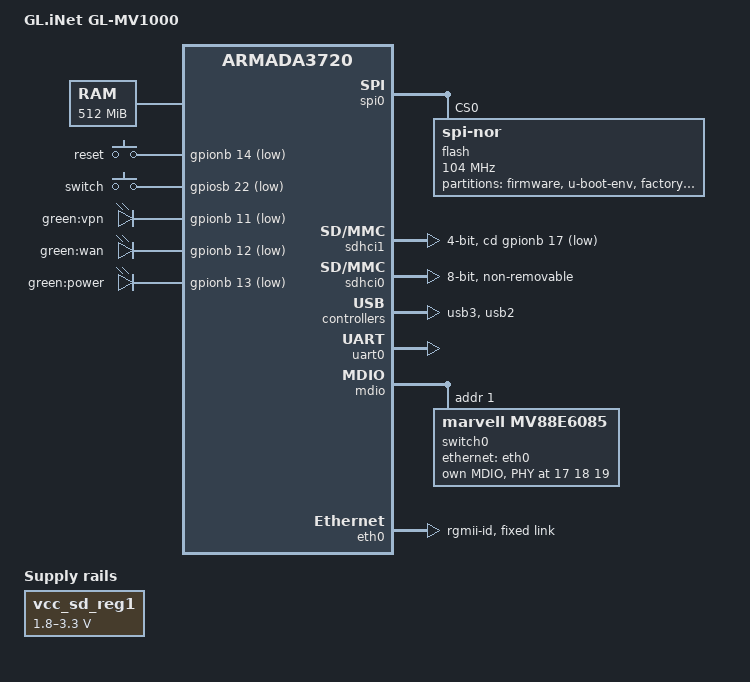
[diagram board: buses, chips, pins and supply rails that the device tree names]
// SPDX-License-Identifier: (GPL-2.0-or-later OR MIT)

/dts-v1/;
#include <dt-bindings/gpio/gpio.h>
#include <dt-bindings/input/input.h>
#include "armada-372x.dtsi"

/ {
	model = "GL.iNet GL-MV1000";
	compatible = "glinet,gl-mv1000", "marvell,armada3720";

	aliases {
		led-boot = &led_power;
		led-failsafe = &led_power;
		led-running = &led_power;
		led-upgrade = &led_power;
	};

	chosen {
		stdout-path = "serial0:115200n8";
	};

	memory@0 {
		device_type = "memory";
		reg = <0x00000000 0x00000000 0x00000000 0x20000000>;
	};

	vcc_sd_reg1: regulator {
		compatible = "regulator-gpio";
		regulator-name = "vcc_sd1";
		regulator-min-microvolt = <1800000>;
		regulator-max-microvolt = <3300000>;
		regulator-boot-on;

		gpios-states = <0>;
		states = <1800000 0x1
			3300000 0x0>;
		enable-active-high;
	};

	keys {
		compatible = "gpio-keys";

		reset {
			label = "reset";
			linux,code = <KEY_RESTART>;
			gpios = <&gpionb 14 GPIO_ACTIVE_LOW>;
		};

		switch {
			label = "switch";
			linux,code = <BTN_0>;
			gpios = <&gpiosb 22 GPIO_ACTIVE_LOW>;
		};
	};

	leds {
		compatible = "gpio-leds";

		vpn {
			label = "green:vpn";
			gpios = <&gpionb 11 GPIO_ACTIVE_LOW>;
		};

		wan {
			label = "green:wan";
			gpios = <&gpionb 12 GPIO_ACTIVE_LOW>;
		};

		led_power: power {
			label = "green:power";
			gpios = <&gpionb 13 GPIO_ACTIVE_LOW>;
			default-state = "on";
		};
	};
};

&spi0 {
	status = "okay";

	flash@0 {
		reg = <0>;
		compatible = "jedec,spi-nor";
		spi-max-frequency = <104000000>;
		m25p,fast-read;
		partitions {
			compatible = "fixed-partitions";
			#address-cells = <1>;
			#size-cells = <1>;

			partition@0 {
				label = "firmware";
				reg = <0 0xf0000>;
			};

			partition@f0000 {
				label = "u-boot-env";
				reg = <0xf0000 0x8000>;
			};

			factory: partition@f8000 {
				label = "factory";
				reg = <0xf8000 0x8000>;
				read-only;
			};

			partition@100000 {
				label = "dtb";
				reg = <0x100000 0x10000>;
				read-only;
			};

			partition@110000 {
				label = "rescue";
				reg = <0x110000 0x1000000>;
			};
		};
	};
};

&sdhci1 {
	wp-inverted;
	bus-width = <4>;
	cd-gpios = <&gpionb 17 GPIO_ACTIVE_LOW>;
	marvell,pad-type = "sd";
	no-1-8-v;
	vqmmc-supply = <&vcc_sd_reg1>;
	status = "okay";
};

&sdhci0 {
	bus-width = <8>;
	mmc-ddr-1_8v;
	mmc-hs400-1_8v;
	non-removable;
	no-sd;
	no-sdio;
	marvell,pad-type = "fixed-1-8v";
	status = "okay";
};

&usb3 {
	status = "okay";
};

&usb2 {
	status = "okay";
};

&uart0 {
	status = "okay";
};

&mdio {
	switch0: ethernet-switch@1 {
		compatible = "marvell,mv88e6085";
		reg = <1>;

		dsa,member = <0 0>;

		ports: ethernet-ports {
			#address-cells = <1>;
			#size-cells = <0>;

			ethernet-port@0 {
				reg = <0>;
				label = "cpu";
				ethernet = <&eth0>;
			};

			ethernet-port@1 {
				reg = <1>;
				label = "wan";
				phy-handle = <&switch0phy0>;
			};

			ethernet-port@2 {
				reg = <2>;
				label = "lan0";
				phy-handle = <&switch0phy1>;

				nvmem-cells = <&macaddr_factory_6>;
				nvmem-cell-names = "mac-address";
			};

			ethernet-port@3 {
				reg = <3>;
				label = "lan1";
				phy-handle = <&switch0phy2>;

				nvmem-cells = <&macaddr_factory_6>;
				nvmem-cell-names = "mac-address";
			};
		};

		mdio {
			#address-cells = <1>;
			#size-cells = <0>;

			switch0phy0: ethernet-phy@11 {
				reg = <0x11>;
			};
			switch0phy1: ethernet-phy@12 {
				reg = <0x12>;
			};
			switch0phy2: ethernet-phy@13 {
				reg = <0x13>;
			};
		};
	};
};

&eth0 {
	nvmem-cells = <&macaddr_factory_0>;
	nvmem-cell-names = "mac-address";
	phy-mode = "rgmii-id";
	status = "okay";

	fixed-link {
		speed = <1000>;
		full-duplex;
	};
};

&factory {
	compatible = "nvmem-cells";
	#address-cells = <1>;
	#size-cells = <1>;

	macaddr_factory_0: macaddr@0 {
		reg = <0x0 0x6>;
	};

	macaddr_factory_6: macaddr@6 {
		reg = <0x6 0x6>;
	};
};
